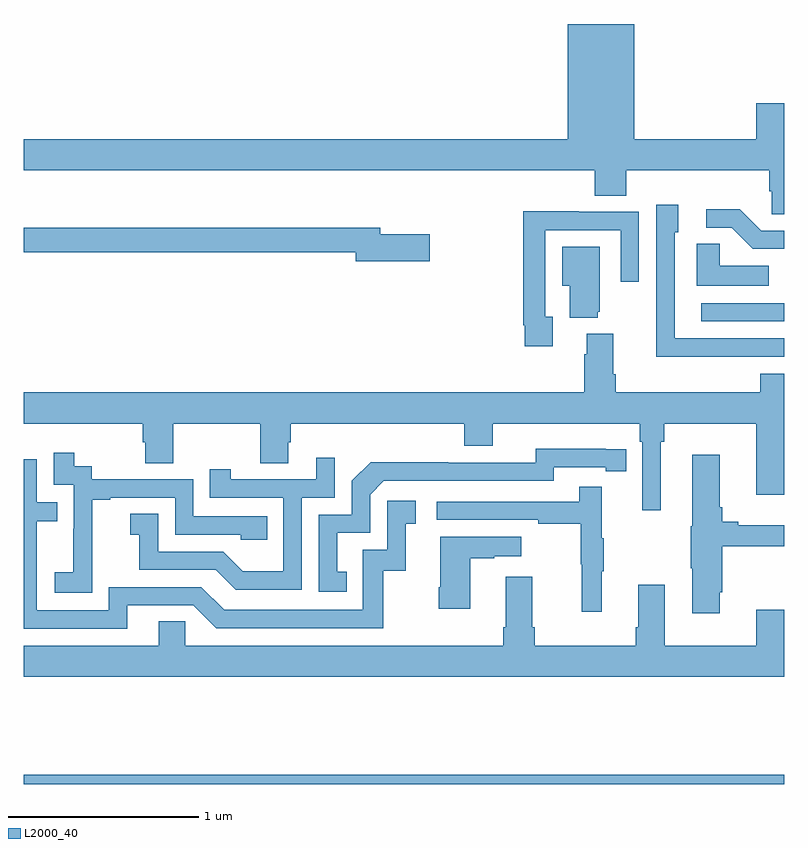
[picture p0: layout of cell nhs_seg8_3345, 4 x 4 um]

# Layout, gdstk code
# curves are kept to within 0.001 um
import gdstk
lib = gdstk.Library(unit=1e-6, precision=1e-09)
def R(c, l, rs):  # rectangles x0, y0, x1, y1
    for r in rs: c.add(gdstk.rectangle(r[:2], r[2:], *l))
def P(c, l, *ps):  # polygons
    for p in ps: c.add(gdstk.Polygon(p, *l))
L2000_40 = (2000, 40)

nhs_seg8_3345 = lib.new_cell('nhs_seg8_3345')
R(nhs_seg8_3345, L2000_40, [(317,1151.9,321,1151.948), (320.565,1154.334,321,1154.43)])
P(nhs_seg8_3345, L2000_40, [(321,1155.481),(320.852,1155.481),(320.852,1155.292),(320.212,1155.292),(320.212,1155.898),(319.862,1155.898),(319.862,1155.292),(317,1155.292),(317,1155.128),(320.003,1155.128),(320.003,1154.995),(320.168,1154.995),(320.168,1155.128),(320.921,1155.128),(320.921,1155.019),(320.934,1155.019),(320.934,1154.896),(321,1154.896)],
  [(320.789,1154.148),(321,1154.148),(321,1154.244),(320.424,1154.244),(320.424,1154.802),(320.443,1154.802),(320.443,1154.947),(320.328,1154.947),(320.328,1154.453),(320.326,1154.453),(320.326,1154.147),(320.789,1154.147)],
  [(321,1154.811),(320.88,1154.811),(320.767,1154.924),(320.589,1154.924),(320.589,1154.826),(320.723,1154.826),(320.834,1154.715),(321,1154.715)],
  [(319.783,1154.358),(319.743,1154.358),(319.743,1154.814),(320.139,1154.814),(320.139,1154.541),(320.235,1154.541),(320.235,1154.91),(319.919,1154.91),(319.919,1154.912),(319.627,1154.912),(319.627,1154.314),(319.635,1154.314),(319.635,1154.202),(319.783,1154.202)],
  [(319.135,1154.793),(318.874,1154.793),(318.874,1154.827),(317,1154.827),(317,1154.698),(318.746,1154.698),(318.746,1154.651),(319.135,1154.651)],
  [(320.918,1154.626),(320.661,1154.626),(320.661,1154.741),(320.54,1154.741),(320.54,1154.522),(320.918,1154.522)],
  [(320.018,1154.385),(320.029,1154.385),(320.029,1154.725),(319.832,1154.725),(319.832,1154.522),(319.871,1154.522),(319.871,1154.354),(320.018,1154.354)],
  [(320.35,1153.7),(320.369,1153.7),(320.369,1153.796),(320.852,1153.796),(320.852,1153.422),(321,1153.422),(321,1154.059),(320.873,1154.059),(320.873,1153.96),(320.114,1153.96),(320.114,1154.056),(320.101,1154.056),(320.101,1154.269),(319.961,1154.269),(319.961,1154.162),(319.949,1154.162),(319.949,1153.96),(317,1153.96),(317,1153.796),(317.627,1153.796),(317.627,1153.698),(317.639,1153.698),(317.639,1153.588),(317.787,1153.588),(317.787,1153.796),(318.244,1153.796),(318.244,1153.588),(318.391,1153.588),(318.391,1153.698),(318.404,1153.698),(318.404,1153.796),(319.316,1153.796),(319.316,1153.679),(319.468,1153.679),(319.468,1153.796),(320.24,1153.796),(320.24,1153.7),(320.253,1153.7),(320.253,1153.341),(320.35,1153.341)],
  [(318.698,1153.017),(318.649,1153.017),(318.649,1153.221),(318.822,1153.221),(318.822,1153.422),(318.894,1153.494),(319.788,1153.494),(319.788,1153.566),(320.06,1153.566),(320.06,1153.546),(320.168,1153.546),(320.168,1153.662),(319.692,1153.663),(319.692,1153.59),(319.232,1153.59),(319.232,1153.592),(318.824,1153.592),(318.726,1153.494),(318.726,1153.317),(318.552,1153.317),(318.552,1152.912),(318.698,1152.912)],
  [(317.361,1153.111),(317.36,1153.111),(317.36,1153.395),(317.455,1153.395),(317.455,1153.407),(317.796,1153.407),(317.796,1153.212),(318.141,1153.212),(318.141,1153.185),(318.281,1153.185),(318.281,1153.308),(317.892,1153.308),(317.892,1153.503),(317.358,1153.503),(317.358,1153.572),(317.266,1153.572),(317.266,1153.642),(317.157,1153.642),(317.157,1153.473),(317.262,1153.473),(317.262,1153.244),(317.261,1153.244),(317.261,1153.015),(317.163,1153.015),(317.163,1152.905),(317.361,1152.905)],
  [(320.662,1152.91),(320.675,1152.91),(320.675,1153.152),(321,1153.152),(321,1153.261),(320.758,1153.261),(320.758,1153.28),(320.675,1153.28),(320.675,1153.357),(320.662,1153.357),(320.662,1153.633),(320.516,1153.633),(320.516,1153.257),(320.509,1153.257),(320.509,1153.036),(320.516,1153.036),(320.516,1152.798),(320.662,1152.798)],
  [(318.462,1153.407),(318.636,1153.407),(318.636,1153.615),(318.539,1153.615),(318.539,1153.503),(318.088,1153.503),(318.088,1153.555),(317.977,1153.555),(317.977,1153.407),(318.366,1153.407),(318.366,1153.018),(318.152,1153.018),(318.048,1153.122),(317.706,1153.122),(317.706,1153.321),(317.559,1153.321),(317.559,1153.211),(317.608,1153.211),(317.608,1153.026),(318.011,1153.026),(318.116,1152.921),(318.462,1152.921)],
  [(317.545,1152.84),(317.892,1152.84),(318.012,1152.72),(318.892,1152.72),(318.892,1153.023),(319.01,1153.023),(319.01,1153.269),(319.063,1153.269),(319.063,1153.39),(318.912,1153.39),(318.912,1153.131),(318.783,1153.131),(318.783,1152.816),(318.054,1152.816),(317.934,1152.936),(317.448,1152.936),(317.448,1152.813),(317.067,1152.813),(317.067,1153.282),(317.177,1153.282),(317.177,1153.383),(317.067,1153.383),(317.067,1153.608),(317,1153.608),(317,1152.717),(317.545,1152.717)],
  [(320.039,1153.019),(320.05,1153.019),(320.05,1153.193),(320.039,1153.193),(320.039,1153.465),(319.921,1153.465),(319.921,1153.386),(319.173,1153.386),(319.173,1153.29),(319.705,1153.29),(319.705,1153.27),(319.929,1153.27),(319.929,1153.056),(319.936,1153.056),(319.936,1152.807),(320.039,1152.807)],
  [(319.348,1153.087),(319.475,1153.087),(319.475,1153.097),(319.618,1153.097),(319.618,1153.201),(319.19,1153.201),(319.19,1152.934),(319.183,1152.934),(319.183,1152.822),(319.348,1152.822)],
  [(321,1152.817),(320.852,1152.817),(320.852,1152.628),(320.371,1152.628),(320.371,1152.949),(320.231,1152.949),(320.231,1152.724),(320.219,1152.724),(320.219,1152.628),(319.688,1152.628),(319.688,1152.724),(319.675,1152.724),(319.675,1152.991),(319.535,1152.991),(319.535,1152.724),(319.523,1152.724),(319.523,1152.628),(317.85,1152.628),(317.85,1152.755),(317.711,1152.755),(317.711,1152.628),(317,1152.628),(317,1152.464),(321,1152.464)])

lib.write_gds('nhs_seg8_3345.gds')
